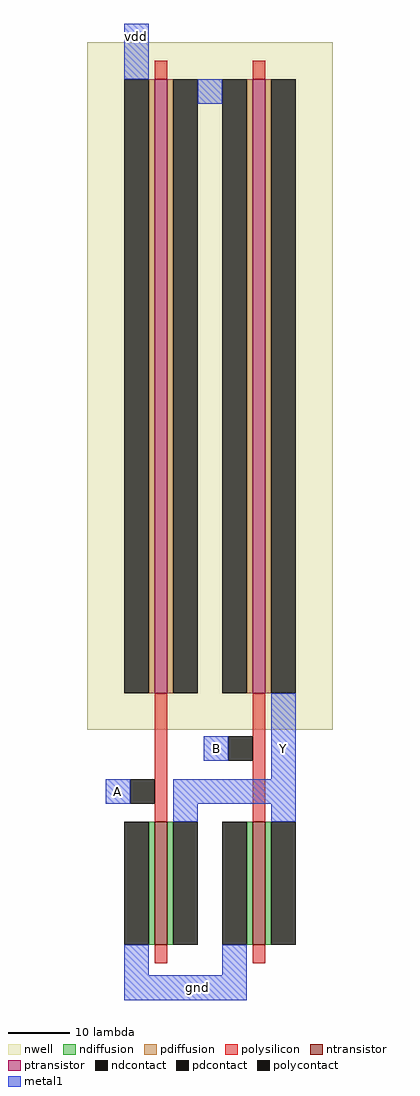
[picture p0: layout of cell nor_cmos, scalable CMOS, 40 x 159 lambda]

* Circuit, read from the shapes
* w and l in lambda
.subckt nor_cmos A B Y gnd vdd
M1 Y A gnd VSUBS nfet w=20 l=2
M2 Y B gnd VSUBS nfet w=20 l=2
M3 n1 A vdd n2 pfet w=100 l=2
M4 Y B n1 n2 pfet w=100 l=2
.ends

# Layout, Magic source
magic
tech scmos
<< nwell >>
rect -6 -6 34 106
<< ntransistor >>
rect 5 -41 7 -21
rect 21 -41 23 -21
<< ptransistor >>
rect 5 0 7 100
rect 21 0 23 100
<< ndiffusion >>
rect 4 -41 5 -21
rect 7 -41 8 -21
rect 20 -41 21 -21
rect 23 -41 24 -21
<< pdiffusion >>
rect 4 0 5 100
rect 7 0 8 100
rect 20 0 21 100
rect 23 0 24 100
<< ndcontact >>
rect 0 -41 4 -21
rect 8 -41 12 -21
rect 16 -41 20 -21
rect 24 -41 28 -21
<< pdcontact >>
rect 0 0 4 100
rect 8 0 12 100
rect 16 0 20 100
rect 24 0 28 100
<< polysilicon >>
rect 5 100 7 103
rect 21 100 23 103
rect 5 -21 7 0
rect 21 -21 23 0
rect 5 -44 7 -41
rect 21 -44 23 -41
<< polycontact >>
rect 1 -18 5 -14
rect 17 -11 21 -7
<< metal1 >>
rect 0 100 4 109
rect 12 96 16 100
rect 13 -11 17 -7
rect 24 -14 28 0
rect -3 -18 1 -14
rect 8 -18 28 -14
rect 8 -21 12 -18
rect 24 -21 28 -18
rect 0 -46 4 -41
rect 16 -46 20 -41
rect 0 -50 20 -46
<< labels >>
rlabel metal1 10 -50 14 -46 1 gnd
rlabel metal1 24 -11 28 -7 1 Y
rlabel metal1 -3 -18 1 -14 1 A
rlabel metal1 13 -11 17 -7 1 B
rlabel metal1 0 105 4 109 5 vdd
<< end >>
